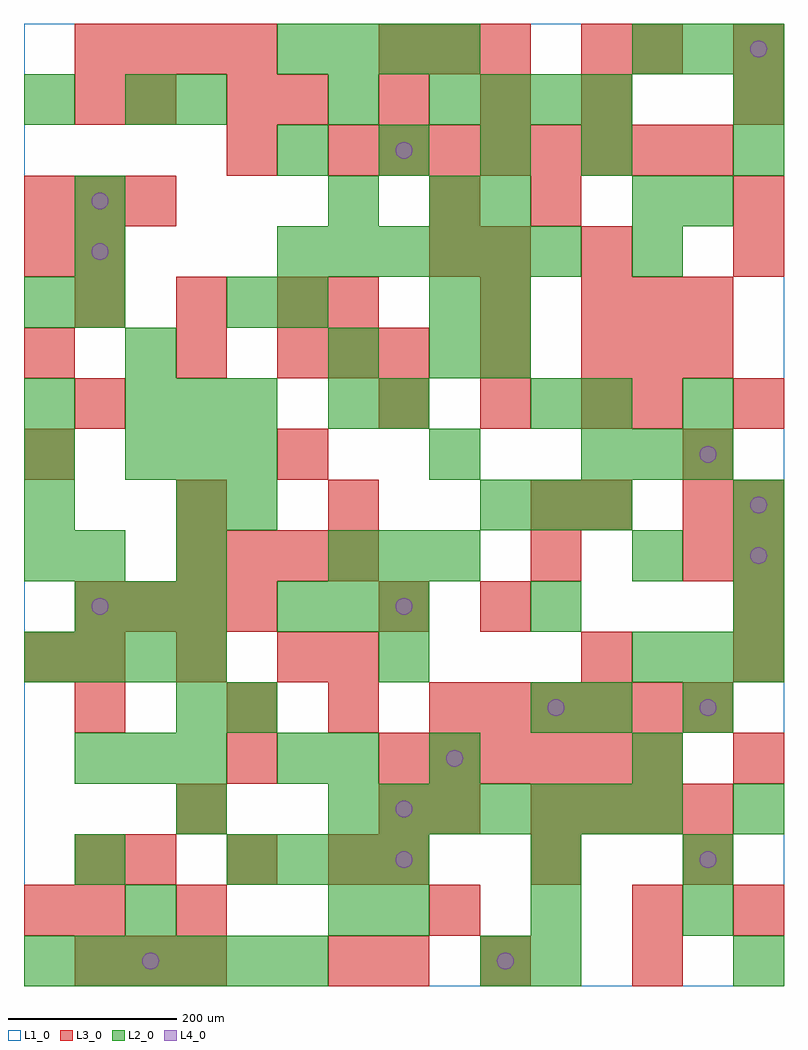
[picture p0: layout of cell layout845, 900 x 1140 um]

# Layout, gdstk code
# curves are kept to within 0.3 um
import gdstk
lib = gdstk.Library(unit=1e-6, precision=1e-09)
def R(c, l, rs):  # rectangles x0, y0, x1, y1
    for r in rs: c.add(gdstk.rectangle(r[:2], r[2:], *l))
def A(c, l, x, y, w, h, nx, ny, dx, dy):  # array of equal rectangles
    R(c, l, [(x+i*dx, y+j*dy, x+i*dx+w, y+j*dy+h) for i in range(nx) for j in range(ny)])
def P(c, l, *ps):  # polygons
    for p in ps: c.add(gdstk.Polygon(p, *l))
L1_0 = (1, 0)
L2_0 = (2, 0)
L3_0 = (3, 0)
L4_0 = (4, 0)

layout845 = lib.new_cell('layout845')
R(layout845, L1_0, [(0,0,900,1140)])
A(layout845, L2_0, 0, 0, 60, 60, 6, 1, 60, 0)
A(layout845, L2_0, 420, 60, 60, 60, 3, 1, 180, 0)
A(layout845, L2_0, 240, 120, 60, 60, 4, 1, 60, 0)
A(layout845, L2_0, 360, 180, 60, 60, 7, 1, 60, 0)
A(layout845, L2_0, 60, 240, 60, 60, 3, 2, 60, 180)
A(layout845, L2_0, 240, 300, 60, 60, 1, 3, 0, 240)
A(layout845, L2_0, 0, 360, 60, 60, 4, 1, 60, 0)
A(layout845, L2_0, 720, 360, 60, 60, 3, 2, 60, 720)
A(layout845, L2_0, 300, 420, 60, 60, 3, 1, 60, 0)
A(layout845, L2_0, 840, 420, 60, 60, 1, 3, 0, 60)
A(layout845, L2_0, 0, 480, 60, 60, 1, 4, 0, 60)
A(layout845, L2_0, 360, 480, 60, 60, 3, 1, 60, 0)
A(layout845, L2_0, 540, 540, 60, 60, 3, 1, 60, 0)
A(layout845, L2_0, 120, 600, 60, 60, 3, 2, 60, 60)
A(layout845, L2_0, 660, 600, 60, 60, 3, 1, 60, 0)
A(layout845, L2_0, 60, 780, 60, 60, 1, 3, 0, 60)
A(layout845, L2_0, 300, 840, 60, 60, 6, 1, 60, 0)
A(layout845, L2_0, 300, 960, 60, 60, 4, 1, 120, 0)
A(layout845, L2_0, 480, 1020, 60, 60, 4, 1, 60, 0)
A(layout845, L2_0, 300, 1080, 60, 60, 4, 1, 60, 0)
R(layout845, L2_0, [(540,0,600,60), (600,0,660,60), (840,0,900,60), (120,60,180,120), (360,60,420,120), (60,120,120,180), (600,120,660,180), (780,120,840,180), (180,180,240,240), (840,180,900,240), (300,240,360,300), (360,240,420,300), (480,240,540,300), (720,240,780,300), (180,300,240,360), (600,300,660,360), (660,300,720,360), (780,300,840,360), (420,360,480,420), (600,420,660,480), (60,480,120,540), (180,480,240,540), (720,480,780,540), (180,540,240,600), (480,600,540,660), (360,660,420,720), (420,660,480,720), (600,660,660,720), (660,660,720,720), (780,660,840,720), (120,720,180,780), (360,720,420,780), (480,720,540,780), (540,720,600,780), (0,780,60,840), (300,780,360,840), (480,780,540,840), (540,780,600,840), (720,840,780,900), (360,900,420,960), (480,900,540,960), (540,900,600,960), (720,900,780,960), (780,900,840,960), (840,960,900,1020), (0,1020,60,1080), (120,1020,180,1080), (180,1020,240,1080), (360,1020,420,1080), (840,1020,900,1080)])
A(layout845, L3_0, 60, 0, 60, 60, 3, 1, 60, 0)
A(layout845, L3_0, 120, 120, 60, 60, 3, 1, 120, 0)
A(layout845, L3_0, 420, 120, 60, 60, 3, 1, 180, 0)
A(layout845, L3_0, 600, 180, 60, 60, 4, 1, 60, 0)
A(layout845, L3_0, 420, 240, 60, 60, 6, 1, 60, 0)
A(layout845, L3_0, 240, 300, 60, 60, 3, 1, 120, 0)
A(layout845, L3_0, 540, 300, 60, 60, 5, 1, 60, 0)
A(layout845, L3_0, 60, 360, 60, 60, 3, 2, 120, 420)
A(layout845, L3_0, 840, 360, 60, 60, 1, 4, 0, 60)
A(layout845, L3_0, 60, 420, 60, 60, 4, 2, 60, 660)
A(layout845, L3_0, 180, 480, 60, 60, 4, 1, 60, 0)
A(layout845, L3_0, 780, 480, 60, 60, 1, 3, 0, 60)
A(layout845, L3_0, 0, 600, 60, 60, 1, 3, 0, 120)
A(layout845, L3_0, 60, 660, 60, 60, 1, 3, 0, 180)
A(layout845, L3_0, 420, 660, 60, 60, 3, 1, 120, 0)
A(layout845, L3_0, 300, 720, 60, 60, 3, 1, 60, 0)
A(layout845, L3_0, 540, 720, 60, 60, 1, 3, 0, 60)
A(layout845, L3_0, 660, 720, 60, 60, 3, 2, 60, 60)
A(layout845, L3_0, 0, 900, 60, 60, 3, 1, 60, 0)
A(layout845, L3_0, 360, 960, 60, 60, 8, 1, 60, 0)
A(layout845, L3_0, 300, 1020, 60, 60, 4, 1, 120, 0)
A(layout845, L3_0, 420, 1080, 60, 60, 3, 1, 60, 0)
R(layout845, L3_0, [(360,0,420,60), (420,0,480,60), (540,0,600,60), (720,0,780,60), (0,60,60,120), (60,60,120,120), (180,60,240,120), (480,60,540,120), (720,60,780,120), (840,60,900,120), (60,120,120,180), (180,180,240,240), (420,180,480,240), (480,180,540,240), (240,240,300,300), (840,240,900,300), (60,300,120,360), (0,360,60,420), (360,360,420,420), (660,360,720,420), (420,420,480,480), (540,420,600,480), (600,480,660,540), (180,540,240,600), (360,540,420,600), (600,540,660,600), (660,540,720,600), (300,600,360,660), (720,660,780,720), (840,660,900,720), (180,720,240,780), (360,780,420,840), (480,840,540,900), (660,840,720,900), (840,840,900,900), (480,900,540,960), (600,900,660,960), (840,900,900,960), (240,960,300,1020), (120,1020,180,1080), (240,1020,300,1080), (840,1020,900,1080), (660,1080,720,1140), (720,1080,780,1140), (840,1080,900,1140)])
P(layout845, L4_0, [(100,450),(99.239,453.827),(97.071,457.071),(93.827,459.239),(90,460),(86.173,459.239),(82.929,457.071),(80.761,453.827),(80,450),(80.761,446.173),(82.929,442.929),(86.173,440.761),(90,440),(93.827,440.761),(97.071,442.929),(99.239,446.173)],
  [(100,870),(99.239,873.827),(97.071,877.071),(93.827,879.239),(90,880),(86.173,879.239),(82.929,877.071),(80.761,873.827),(80,870),(80.761,866.173),(82.929,862.929),(86.173,860.761),(90,860),(93.827,860.761),(97.071,862.929),(99.239,866.173)],
  [(100,930),(99.239,933.827),(97.071,937.071),(93.827,939.239),(90,940),(86.173,939.239),(82.929,937.071),(80.761,933.827),(80,930),(80.761,926.173),(82.929,922.929),(86.173,920.761),(90,920),(93.827,920.761),(97.071,922.929),(99.239,926.173)],
  [(160,30),(159.239,33.827),(157.071,37.071),(153.827,39.239),(150,40),(146.173,39.239),(142.929,37.071),(140.761,33.827),(140,30),(140.761,26.173),(142.929,22.929),(146.173,20.761),(150,20),(153.827,20.761),(157.071,22.929),(159.239,26.173)],
  [(460,150),(459.239,153.827),(457.071,157.071),(453.827,159.239),(450,160),(446.173,159.239),(442.929,157.071),(440.761,153.827),(440,150),(440.761,146.173),(442.929,142.929),(446.173,140.761),(450,140),(453.827,140.761),(457.071,142.929),(459.239,146.173)],
  [(460,210),(459.239,213.827),(457.071,217.071),(453.827,219.239),(450,220),(446.173,219.239),(442.929,217.071),(440.761,213.827),(440,210),(440.761,206.173),(442.929,202.929),(446.173,200.761),(450,200),(453.827,200.761),(457.071,202.929),(459.239,206.173)],
  [(460,450),(459.239,453.827),(457.071,457.071),(453.827,459.239),(450,460),(446.173,459.239),(442.929,457.071),(440.761,453.827),(440,450),(440.761,446.173),(442.929,442.929),(446.173,440.761),(450,440),(453.827,440.761),(457.071,442.929),(459.239,446.173)],
  [(460,990),(459.239,993.827),(457.071,997.071),(453.827,999.239),(450,1000),(446.173,999.239),(442.929,997.071),(440.761,993.827),(440,990),(440.761,986.173),(442.929,982.929),(446.173,980.761),(450,980),(453.827,980.761),(457.071,982.929),(459.239,986.173)],
  [(520,270),(519.239,273.827),(517.071,277.071),(513.827,279.239),(510,280),(506.173,279.239),(502.929,277.071),(500.761,273.827),(500,270),(500.761,266.173),(502.929,262.929),(506.173,260.761),(510,260),(513.827,260.761),(517.071,262.929),(519.239,266.173)],
  [(580,30),(579.239,33.827),(577.071,37.071),(573.827,39.239),(570,40),(566.173,39.239),(562.929,37.071),(560.761,33.827),(560,30),(560.761,26.173),(562.929,22.929),(566.173,20.761),(570,20),(573.827,20.761),(577.071,22.929),(579.239,26.173)],
  [(640,330),(639.239,333.827),(637.071,337.071),(633.827,339.239),(630,340),(626.173,339.239),(622.929,337.071),(620.761,333.827),(620,330),(620.761,326.173),(622.929,322.929),(626.173,320.761),(630,320),(633.827,320.761),(637.071,322.929),(639.239,326.173)],
  [(820,150),(819.239,153.827),(817.071,157.071),(813.827,159.239),(810,160),(806.173,159.239),(802.929,157.071),(800.761,153.827),(800,150),(800.761,146.173),(802.929,142.929),(806.173,140.761),(810,140),(813.827,140.761),(817.071,142.929),(819.239,146.173)],
  [(820,330),(819.239,333.827),(817.071,337.071),(813.827,339.239),(810,340),(806.173,339.239),(802.929,337.071),(800.761,333.827),(800,330),(800.761,326.173),(802.929,322.929),(806.173,320.761),(810,320),(813.827,320.761),(817.071,322.929),(819.239,326.173)],
  [(820,630),(819.239,633.827),(817.071,637.071),(813.827,639.239),(810,640),(806.173,639.239),(802.929,637.071),(800.761,633.827),(800,630),(800.761,626.173),(802.929,622.929),(806.173,620.761),(810,620),(813.827,620.761),(817.071,622.929),(819.239,626.173)],
  [(880,510),(879.239,513.827),(877.071,517.071),(873.827,519.239),(870,520),(866.173,519.239),(862.929,517.071),(860.761,513.827),(860,510),(860.761,506.173),(862.929,502.929),(866.173,500.761),(870,500),(873.827,500.761),(877.071,502.929),(879.239,506.173)],
  [(880,570),(879.239,573.827),(877.071,577.071),(873.827,579.239),(870,580),(866.173,579.239),(862.929,577.071),(860.761,573.827),(860,570),(860.761,566.173),(862.929,562.929),(866.173,560.761),(870,560),(873.827,560.761),(877.071,562.929),(879.239,566.173)],
  [(880,1110),(879.239,1113.827),(877.071,1117.071),(873.827,1119.239),(870,1120),(866.173,1119.239),(862.929,1117.071),(860.761,1113.827),(860,1110),(860.761,1106.173),(862.929,1102.929),(866.173,1100.761),(870,1100),(873.827,1100.761),(877.071,1102.929),(879.239,1106.173)])

lib.write_gds('layout845.gds')
